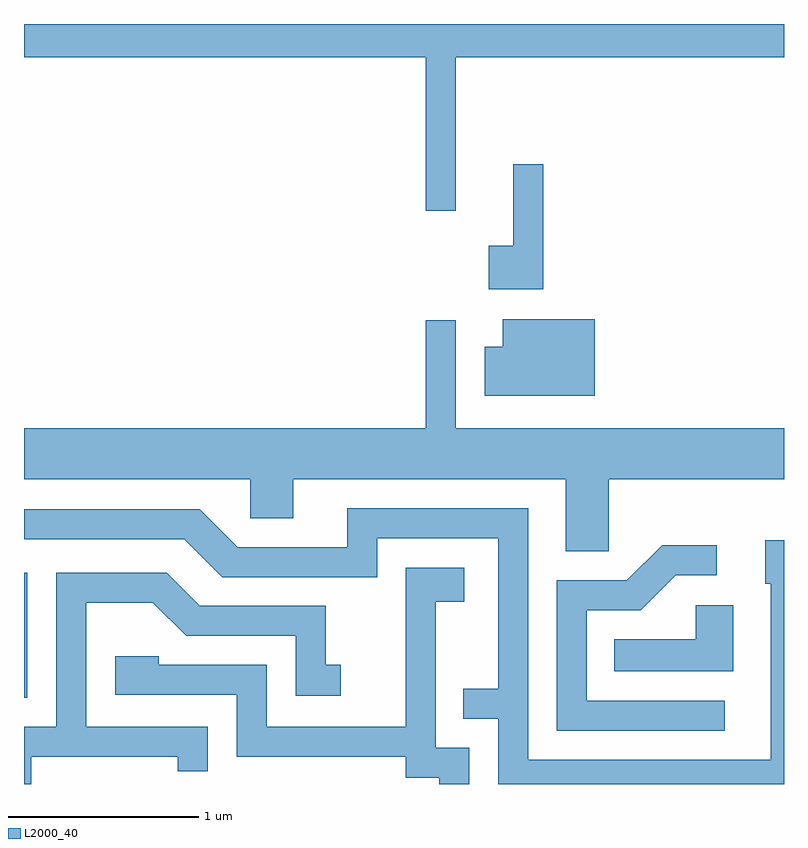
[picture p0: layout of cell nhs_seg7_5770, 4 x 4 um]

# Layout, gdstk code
import gdstk
lib = gdstk.Library(unit=1e-6, precision=1e-09)
def R(c, l, rs):  # rectangles x0, y0, x1, y1
    for r in rs: c.add(gdstk.rectangle(r[:2], r[2:], *l))
def P(c, l, *ps):  # polygons
    for p in ps: c.add(gdstk.Polygon(p, *l))
L2000_40 = (2000, 40)

nhs_seg7_5770 = lib.new_cell('nhs_seg7_5770')
R(nhs_seg7_5770, L2000_40, [(361.611,1728.706,361.629,1729.364)])
P(nhs_seg7_5770, L2000_40, [(363.884,1732.076),(365.611,1732.076),(365.611,1732.252),(361.611,1732.252),(361.611,1732.076),(363.726,1732.076),(363.726,1731.268),(363.884,1731.268)],
  [(364.344,1731.513),(364.186,1731.513),(364.186,1731.084),(364.056,1731.084),(364.056,1730.856),(364.344,1730.856)],
  [(364.614,1730.699),(364.131,1730.699),(364.131,1730.554),(364.036,1730.554),(364.036,1730.296),(364.614,1730.296)],
  [(364.689,1729.856),(365.611,1729.856),(365.611,1730.124),(363.884,1730.124),(363.884,1730.693),(363.726,1730.693),(363.726,1730.124),(361.611,1730.124),(361.611,1729.856),(362.801,1729.856),(362.801,1729.651),(363.029,1729.651),(363.029,1729.856),(364.461,1729.856),(364.461,1729.476),(364.689,1729.476)],
  [(365.611,1729.534),(365.511,1729.534),(365.511,1729.306),(365.541,1729.306),(365.541,1728.379),(364.264,1728.379),(364.264,1729.704),(363.311,1729.704),(363.311,1729.499),(362.737,1729.499),(362.537,1729.699),(361.611,1729.699),(361.611,1729.541),(362.454,1729.541),(362.654,1729.341),(363.469,1729.341),(363.469,1729.546),(364.106,1729.546),(364.106,1728.754),(363.923,1728.754),(363.923,1728.596),(364.106,1728.596),(364.106,1728.252),(365.611,1728.252)],
  [(365.298,1728.689),(364.574,1728.689),(364.574,1729.166),(364.857,1729.166),(365.042,1729.351),(365.258,1729.351),(365.258,1729.509),(364.969,1729.509),(364.784,1729.324),(364.416,1729.324),(364.416,1728.531),(365.298,1728.531)],
  [(363.954,1728.444),(363.779,1728.444),(363.779,1729.211),(363.929,1729.211),(363.929,1729.389),(363.621,1729.389),(363.621,1728.554),(362.889,1728.554),(362.889,1728.879),(362.319,1728.879),(362.319,1728.924),(362.091,1728.924),(362.091,1728.721),(362.731,1728.721),(362.731,1728.396),(363.621,1728.396),(363.621,1728.286),(363.796,1728.286),(363.796,1728.252),(363.954,1728.252)],
  [(361.649,1728.396),(362.421,1728.396),(362.421,1728.318),(362.579,1728.318),(362.579,1728.554),(361.939,1728.554),(361.939,1729.206),(362.289,1729.206),(362.464,1729.031),(363.041,1729.031),(363.041,1728.716),(363.278,1728.716),(363.278,1728.879),(363.199,1728.879),(363.199,1729.189),(362.537,1729.189),(362.362,1729.364),(361.781,1729.364),(361.781,1728.554),(361.611,1728.554),(361.611,1728.252),(361.649,1728.252)],
  [(365.344,1729.194),(365.146,1729.194),(365.146,1729.014),(364.718,1729.014),(364.718,1728.846),(365.344,1728.846)])

lib.write_gds('nhs_seg7_5770.gds')
